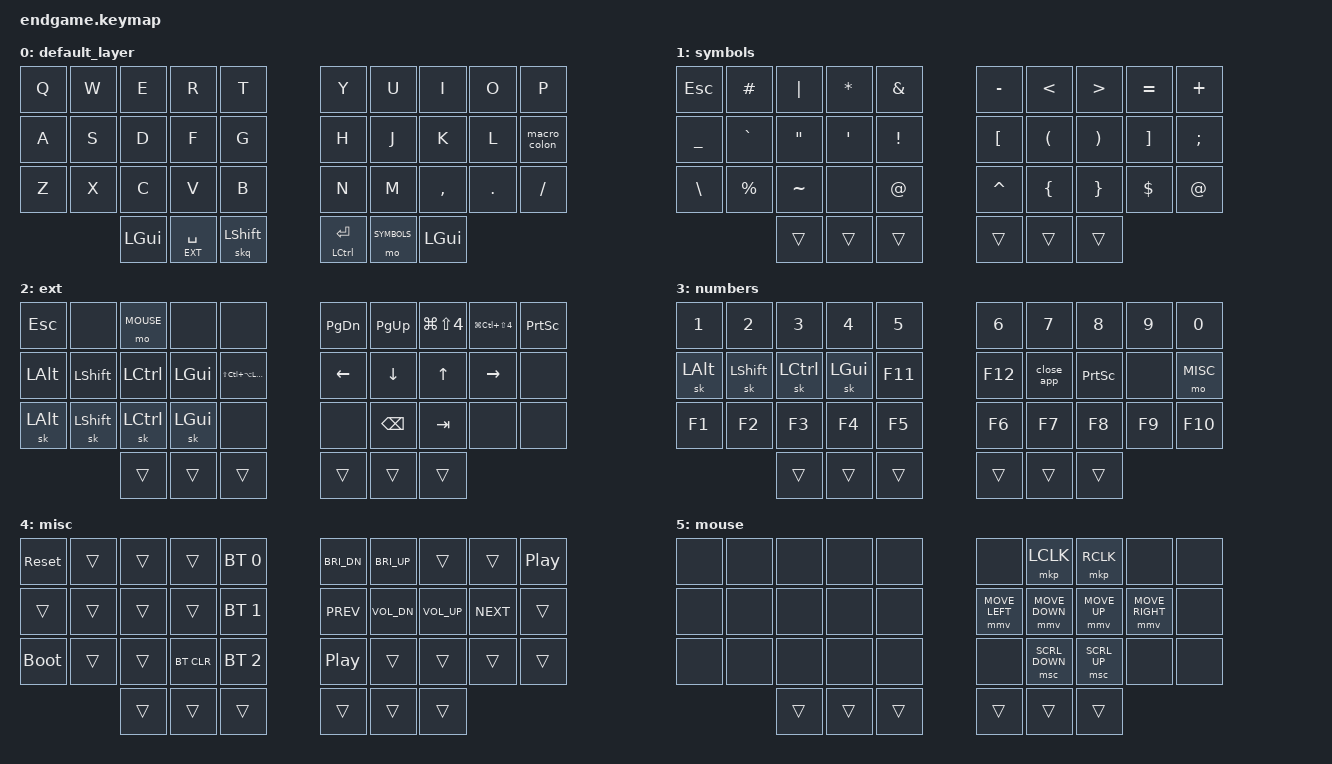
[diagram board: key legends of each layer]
/*
 * Copyright (c) 2021 The ZMK Contributors
 *
 * SPDX-License-Identifier: MIT
 */

#include <behaviors.dtsi>
#include <dt-bindings/zmk/keys.h>
#include <dt-bindings/zmk/bt.h>
#include <dt-bindings/zmk/pointing.h>


#define SYMBOLS  1
#define EXT  2
#define NUMBERS  3
#define MISC  4
#define MOUSE 5

#define ZMK_POINTING_DEFAULT_SCRL_VAL 20

#define HYPER LS(LC(LA(LGUI)))

#define MAC_SNIP      LG(LC(LS(N4)))
#define MAC_SNIP_FILE LG(LS(N4))



&sk {
    release-after-ms = <5000>;
    ignore-modifiers;
};

&mt {
    tapping-term-ms = <220>;
    quick-tap-ms = <150>;
};

/ {
    behaviors {
        ht: hold_tap {
            compatible = "zmk,behavior-hold-tap";
            #binding-cells = <2>;
            flavor = "tap-preferred";
            tapping-term-ms = <220>;
            quick-tap-ms = <150>;
            require-prior-idle-ms = <100>;
            bindings = <&kp>, <&kp>;
        };
       skq: sticky_key_quick_release {
          compatible = "zmk,behavior-sticky-key";
          label = "STICKY_KEY_QUICK_RELEASE";
          #binding-cells = <1>;
          bindings = <&kp>;
          release-after-ms = <1000>;
          quick-release;
        };

    };

    macros {
        close_app: close_app {
            compatible = "zmk,behavior-macro";
            #binding-cells = <0>;
            bindings
                = <&macro_press &kp LALT>
                , <&macro_tap &kp F4>
                , <&macro_release &kp LALT>
                ;
            };
         macro_colon: macro_colon {
            compatible = "zmk,behavior-macro";
            label = "Macro Colon";
            #binding-cells = <0>;
            bindings = <
                &kp COLON
            >;
            wait-ms = <0>;
            tap-ms = <10>;
          };

        };

    conditional_layers {
        compatible = "zmk,conditional-layers";
        tri_layer {
            if-layers = <1 2>;
            then-layer = <3>;
        };
    };

    combos {
        compatible = "zmk,combos";
        combo_esc {
            timeout-ms = <50>;
            key-positions = <16 17>;
            bindings = <&kp ESC>;
            require-prior-idle-ms = <150>;
        };
    };

    keymap {
        compatible = "zmk,keymap";
        default_layer {
            bindings = <
        //╭──────────┬──────────┬──────────┬──────────┬──────────╮   ╭──────────┬──────────┬──────────┬──────────┬──────────╮
            &kp Q      &kp W      &kp E      &kp R      &kp T          &kp Y      &kp U      &kp I      &kp O      &kp P
        //├──────────┼──────────┼──────────┼──────────┼──────────┤   ├──────────┼──────────┼──────────┼──────────┼──────────┤
            &kp A       &kp S     &kp D        &kp F     &kp G          &kp H      &kp J       &kp K    &kp L       &macro_colon
        //├──────────┼──────────┼──────────┼──────────┼──────────┤   ├──────────┼──────────┼──────────┼──────────┼──────────┤
            &kp Z      &kp X      &kp C      &kp V   &kp B               &kp N    &kp M     &kp COMMA  &kp DOT    &kp FSLH
        //╰──────────┴──────────┴──────────┼──────────┼──────────┤   ├──────────┼──────────┼──────────┴──────────┴──────────╯
                                &kp LGUI  &lt EXT SPACE  &skq LSHFT    &mt LCTRL ENTER  &mo SYMBOLS &kp LGUI
        //                                 ╰──────────┴──────────╯   ╰──────────┴──────────╯
            >;
        };

        symbols {
            bindings = <
        //╭──────────┬──────────┬──────────┬──────────┬──────────╮   ╭──────────┬──────────┬──────────┬──────────┬──────────╮
            &kp ESC    &kp HASH    &kp PIPE   &kp STAR   &kp AMPS      &kp MINUS  &kp LT      &kp GT   &kp EQUAL    &kp PLUS
        //├──────────┼──────────┼──────────┼──────────┼──────────┤   ├──────────┼──────────┼──────────┼──────────┼──────────┤
           &kp UNDER   &kp GRAVE  &kp DQT   &kp SQT      &kp EXCL        &kp LBKT  &kp LPAR    &kp RPAR   &kp RBKT   &kp SEMI
        //├──────────┼──────────┼──────────┼──────────┼──────────┤   ├──────────┼──────────┼──────────┼──────────┼──────────┤
         &kp BACKSLASH &kp PRCNT  &kp TILDE    &none   &kp AT        &kp CARET  &kp LBRC  &kp RBRC    &kp DLLR      &kp AT
        //╰──────────┴──────────┴──────────┼──────────┼──────────┤   ├──────────┼──────────┼──────────┴──────────┴──────────╯
                                     &trans  &trans     &trans          &trans     &trans &trans
        //                                 ╰──────────┴──────────╯   ╰──────────┴──────────╯
            >;
        };

        ext {
            bindings = <
        //╭──────────┬──────────┬──────────┬──────────┬──────────╮   ╭──────────┬──────────┬──────────┬──────────┬──────────╮
            &kp ESC      &none     &mo MOUSE     &none      &none     &kp PG_DN  &kp PG_UP  &kp MAC_SNIP_FILE &kp MAC_SNIP &kp PSCRN
        //├──────────┼──────────┼──────────┼──────────┼──────────┤   ├──────────┼──────────┼──────────┼──────────┼──────────┤
             &kp LALT  &kp LSHFT  &kp LCTRL  &kp LGUI     &kp HYPER       &kp LEFT   &kp DOWN     &kp UP    &kp RIGHT  &none
        //├──────────┼──────────┼──────────┼──────────┼──────────┤   ├──────────┼──────────┼──────────┼──────────┼──────────┤
              &sk LALT  &sk LSHFT  &sk LCTRL  &sk LGUI      &none       &none      &kp BSPC    &kp TAB     &none      &none
        //╰──────────┴──────────┴──────────┼──────────┼──────────┤   ├──────────┼──────────┼──────────┴──────────┴──────────╯
                                     &trans  &trans     &trans          &trans     &trans &trans
        //                                 ╰──────────┴──────────╯   ╰──────────┴──────────╯
            >;
        };

        numbers {
            bindings = <
        //╭──────────┬──────────┬──────────┬──────────┬──────────╮   ╭──────────┬──────────┬──────────┬──────────┬──────────╮
            &kp N1     &kp N2     &kp N3    &kp N4      &kp N5         &kp N6    &kp N7     &kp N8       &kp N9   &kp N0
        //├──────────┼──────────┼──────────┼──────────┼──────────┤   ├──────────┼──────────┼──────────┼──────────┼──────────┤
            &sk LALT  &sk LSHFT  &sk LCTRL  &sk LGUI     &kp F11       &kp F12   &close_app    &kp PSCRN  &none     &mo MISC
        //├──────────┼──────────┼──────────┼──────────┼──────────┤   ├──────────┼──────────┼──────────┼──────────┼──────────┤
            &kp F1      &kp F2     &kp F3     &kp F4     &kp F5          &kp F6     &kp F7     &kp F8     &kp F9     &kp F10 
        //╰──────────┴──────────┴──────────┼──────────┼──────────┤   ├──────────┼──────────┼──────────┴──────────┴──────────╯
                                     &trans  &trans     &trans          &trans     &trans &trans
        //                                 ╰──────────┴──────────╯   ╰──────────┴──────────╯
            >;
        };
      
        misc {
            bindings = <
        //╭──────────┬──────────┬──────────┬──────────┬──────────╮   ╭──────────┬──────────┬──────────┬──────────┬──────────╮
           &sys_reset   &trans     &trans     &trans   &bt BT_SEL 0  &kp C_BRI_DN &kp C_BRI_UP &trans   &trans    &kp C_PP  
        //├──────────┼──────────┼──────────┼──────────┼──────────┤   ├──────────┼──────────┼──────────┼──────────┼──────────┤
          &trans  &trans     &trans     &trans    &bt BT_SEL 1       &kp C_PREV &kp C_VOL_DN  &kp C_VOL_UP &kp C_NEXT   &trans
        //├──────────┼──────────┼──────────┼──────────┼──────────┤   ├──────────┼──────────┼──────────┼──────────┼──────────┤
            &bootloader  &trans  &trans    &bt BT_CLR &bt BT_SEL 2   &kp C_PP     &trans     &trans     &trans     &trans
        //╰──────────┴──────────┴──────────┼──────────┼──────────┤   ├──────────┼──────────┼──────────┴──────────┴──────────╯
                                     &trans  &trans     &trans          &trans     &trans &trans
        //                                 ╰──────────┴──────────╯   ╰──────────┴──────────╯
            >;
        };

          mouse {
              bindings = <
                 &none    &none    &none    &none    &none        &none    &mkp LCLK    &mkp RCLK    &none    &none  
                 &none    &none    &none    &none    &none        &mmv MOVE_LEFT    &mmv MOVE_DOWN    &mmv MOVE_UP    &mmv MOVE_RIGHT  &none
                 &none    &none    &none    &none    &none        &none    &msc SCRL_DOWN    &msc SCRL_UP    &none    &none 
                                  &trans   &trans   &trans       &trans   &trans   &trans
              >;
          };

    };
};



